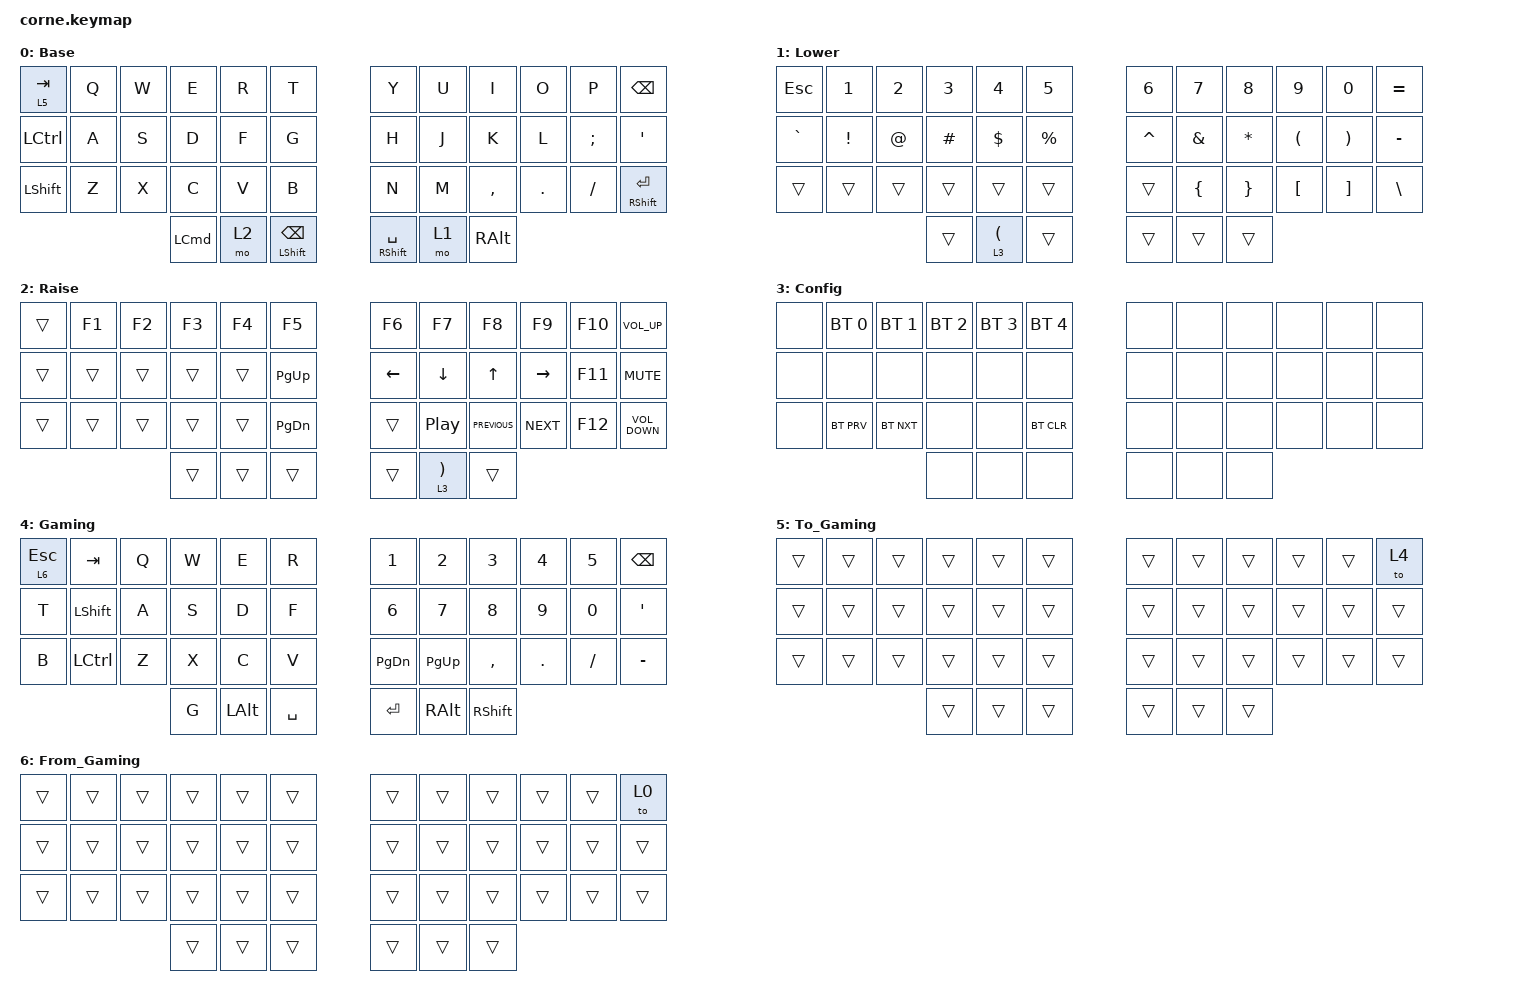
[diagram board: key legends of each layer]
#include <behaviors.dtsi>
#include <dt-bindings/zmk/bt.h>
#include <dt-bindings/zmk/keys.h>

#define BASE 0
#define LOWER 1
#define RAISE 2

/ {
    combos {
        compatible = "zmk,combos";

        Esc {
            bindings = <&kp ESC>;
            key-positions = <0 1>;
            layers = <0>;
        };

        Esc_2 {
            bindings = <&kp ESC>;
            key-positions = <1 2>;
            layers = <0>;
        };
    };

    behaviors {
        home_row_l: home_row_l {
            compatible = "zmk,behavior-hold-tap";
            label = "HOME_ROW_L";
            bindings = <&kp>, <&kp>;

            #binding-cells = <2>;
            flavor = "balanced";
            tapping-term-ms = <280>;
            require-prior-idle-ms = <150>;
            hold-trigger-on-release;
            hold-trigger-key-positions = <6 18 30 31 32 33 34 35 23 22 21 20 19 7 8 9 10 11 41 40 39 38 37 36>;
            quick-tap-ms = <175>;
        };

        layer_tap_qt: layer_tap_qt {
            compatible = "zmk,behavior-hold-tap";
            label = "LAYER_TAP_QT";
            bindings = <&mo>, <&kp>;

            #binding-cells = <2>;
            tapping-term-ms = <150>;
            quick-tap-ms = <200>;
            flavor = "balanced";
        };

        mod_tap_qt: mod_tap_qt {
            compatible = "zmk,behavior-hold-tap";
            label = "MOD_TAP_QT";
            bindings = <&kp>, <&kp>;

            #binding-cells = <2>;
            tapping-term-ms = <150>;
            quick-tap-ms = <200>;
            flavor = "hold-preferred";
        };

        home_row_r: home_row_r {
            compatible = "zmk,behavior-hold-tap";
            label = "HOME_ROW_R";
            bindings = <&kp>, <&kp>;

            #binding-cells = <2>;
            flavor = "balanced";
            tapping-term-ms = <280>;
            require-prior-idle-ms = <150>;
            hold-trigger-on-release;
            hold-trigger-key-positions = <0 1 2 3 4 5 12 13 14 15 16 17 24 25 26 27 28 29 36 37 38 39 40 41>;
            quick-tap-ms = <175>;
        };
    };

    keymap {
        compatible = "zmk,keymap";

        Base {
            bindings = <
&layer_tap_qt 5 TAB  &kp Q  &kp W  &kp E             &kp R  &kp T                               &kp Y                          &kp U  &kp I          &kp O       &kp P          &kp BACKSPACE
&kp LCTRL            &kp A  &kp S  &kp D             &kp F  &kp G                               &kp H                          &kp J  &kp K          &kp L       &kp SEMICOLON  &kp SINGLE_QUOTE
&kp LEFT_SHIFT       &kp Z  &kp X  &kp C             &kp V  &kp B                               &kp N                          &kp M  &kp COMMA      &kp PERIOD  &kp SLASH      &mod_tap_qt RIGHT_SHIFT ENTER
                                   &kp LEFT_COMMAND  &mo 2  &mod_tap_qt LEFT_SHIFT BACKSPACE    &mod_tap_qt RIGHT_SHIFT SPACE  &mo 1  &kp RIGHT_ALT
            >;
        };

        Lower {
            bindings = <
&kp ESCAPE  &kp NUMBER_1     &kp NUMBER_2  &kp NUMBER_3  &kp NUMBER_4            &kp NUMBER_5    &kp NUMBER_6  &kp NUMBER_7    &kp NUMBER_8     &kp NUMBER_9          &kp NUMBER_0           &kp EQUAL
&kp GRAVE   &kp EXCLAMATION  &kp AT_SIGN   &kp HASH      &kp DOLLAR              &kp PERCENT     &kp CARET     &kp AMPERSAND   &kp ASTERISK     &kp LEFT_PARENTHESIS  &kp RIGHT_PARENTHESIS  &kp MINUS
&trans      &trans           &trans        &trans        &trans                  &trans          &trans        &kp LEFT_BRACE  &kp RIGHT_BRACE  &kp LEFT_BRACKET      &kp RIGHT_BRACKET      &kp BACKSLASH
                                           &trans        &lt 3 LEFT_PARENTHESIS  &trans          &trans        &trans          &trans
            >;
        };

        Raise {
            bindings = <
&trans  &kp F1  &kp F2  &kp F3  &kp F4  &kp F5           &kp F6    &kp F7                   &kp F8          &kp F9      &kp F10  &kp C_VOLUME_UP
&trans  &trans  &trans  &trans  &trans  &kp PAGE_UP      &kp LEFT  &kp DOWN                 &kp UP          &kp RIGHT   &kp F11  &kp K_MUTE
&trans  &trans  &trans  &trans  &trans  &kp PAGE_DOWN    &trans    &kp C_PLAY_PAUSE         &kp C_PREVIOUS  &kp C_NEXT  &kp F12  &kp C_VOLUME_DOWN
                        &trans  &trans  &trans           &trans    &lt 3 RIGHT_PARENTHESIS  &trans
            >;
        };

        Config {
            bindings = <
&none  &bt BT_SEL 0  &bt BT_SEL 1  &bt BT_SEL 2  &bt BT_SEL 3  &bt BT_SEL 4    &none  &none  &none  &none  &none  &none
&none  &none         &none         &none         &none         &none           &none  &none  &none  &none  &none  &none
&none  &bt BT_PRV    &bt BT_NXT    &none         &none         &bt BT_CLR      &none  &none  &none  &none  &none  &none
                                   &none         &none         &none           &none  &none  &none
            >;
        };

        Gaming {
            bindings = <
&layer_tap_qt 6 ESC  &kp TAB    &kp Q  &kp W  &kp E     &kp R        &kp N1         &kp N2       &kp N3     &kp N4   &kp N5    &kp BACKSPACE
&kp T                &kp LSHFT  &kp A  &kp S  &kp D     &kp F        &kp N6         &kp N7       &kp N8     &kp N9   &kp N0    &kp SQT
&kp B                &kp LCTRL  &kp Z  &kp X  &kp C     &kp V        &kp PAGE_DOWN  &kp PAGE_UP  &kp COMMA  &kp DOT  &kp FSLH  &kp MINUS
                                       &kp G  &kp LALT  &kp SPACE    &kp RET        &kp RALT     &kp RSHFT
            >;
        };

        To_Gaming {
            bindings = <
&trans  &trans  &trans  &trans  &trans  &trans    &trans  &trans  &trans  &trans  &trans  &to 4
&trans  &trans  &trans  &trans  &trans  &trans    &trans  &trans  &trans  &trans  &trans  &trans
&trans  &trans  &trans  &trans  &trans  &trans    &trans  &trans  &trans  &trans  &trans  &trans
                        &trans  &trans  &trans    &trans  &trans  &trans
            >;
        };

        From_Gaming {
            bindings = <
&trans  &trans  &trans  &trans  &trans  &trans    &trans  &trans  &trans  &trans  &trans  &to 0
&trans  &trans  &trans  &trans  &trans  &trans    &trans  &trans  &trans  &trans  &trans  &trans
&trans  &trans  &trans  &trans  &trans  &trans    &trans  &trans  &trans  &trans  &trans  &trans
                        &trans  &trans  &trans    &trans  &trans  &trans
            >;
        };
    };

    conditional_layers { compatible = "zmk,conditional-layers"; };
};
